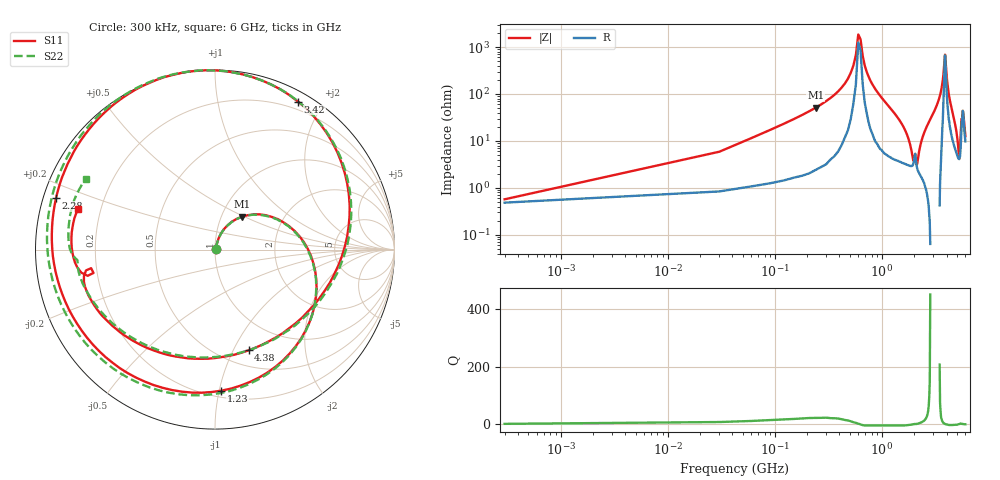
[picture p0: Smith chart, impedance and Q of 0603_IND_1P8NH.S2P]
!Agilent Technologies,E5071C,MY46106283,A.09.10
!Date: Tue Jan 23 23:58:07 2001
!Data & Calibration Information:
!Freq	S11:SOLT2(ON)	S41:SOLT2(ON)	S14:SOLT2(ON)	S44:SOLT2(ON)
# Hz S dB R 50
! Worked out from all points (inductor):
!   201 points, 300 kHz to 6 GHz, reference 50 ohm
!   read as 1/Y11, port 2 shorted: L = 29.9 nH near 30.3 MHz
!   highest Q = 21.1 at 240.3 MHz (marker M1), where L = 33.9 nH
!   self-resonance near 600.3 MHz
!   S11 on the Smith chart (normalised r, x): 300 kHz: 1.01, +0.00; 1.23 GHz: 0.25, -1.02; 2.28 GHz: 0.04, +0.16; 3.42 GHz: 0.11, +1.70; 4.38 GHz: 0.67, -1.15; 6 GHz: 0.12, +0.14
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300000  -43.50 15.3  -0.02 -0.2  -0.05 -0.1  -43.39 37.9
3.02985e7  -29.24 72.0  -0.08 -4.7  -0.08 -4.7  -29.39 71.9
6.0297e7  -23.75 72.4  -0.12 -9.3  -0.12 -9.3  -23.84 72.0
2.40288e8  -12.52 50.7  -0.42 -35.8  -0.42 -35.8  -12.62 50.9
5.702715e8  -6.07 4.7  -1.54 -83.3  -1.54 -83.3  -6.14 4.8
1.020249e9  -2.80 -58.6  -4.55 -146.6  -4.54 -146.6  -2.73 -58.9
1.230238e9  -2.08 -87.4  -6.72 -174.8  -6.72 -174.9  -1.93 -88.1
1.650218e9  -1.33 -138.9  -12.84 135.4  -12.85 135.2  -1.05 -140.9
2.0102e9  -0.91 -174.9  -20.97 102.3  -20.99 102.3  -0.62 -177.9
2.19019e9  -0.72 169.4  -28.45 91.5  -28.49 91.3  -0.44 166.1
2.280186e9  -0.62 162.0  -36.47 95.7  -36.44 96.0  -0.36 158.6
2.340183e9  -0.55 157.2  -45.82 166.4  -45.72 166.5  -0.31 153.7
2.40018e9  -0.49 152.4  -35.97 -131.1  -36.10 -132.0  -0.26 148.8
2.520174e9  -0.35 143.0  -27.17 -129.1  -27.23 -129.1  -0.16 139.4
3.00015e9  0.01 103.8  -15.29 -163.5  -15.34 -163.2  0.03 100.6
3.420129e9  -0.49 60.7  -9.39 151.3  -9.39 151.7  -0.54 58.2
3.720114e9  -1.87 22.4  -6.80 112.4  -6.74 111.8  -1.90 19.6
4.020099e9  -3.69 -20.3  -5.61 68.9  -5.54 69.4  -3.70 -24.6
4.380081e9  -4.56 -71.6  -5.91 24.3  -6.01 24.2  -4.56 -77.8
5.01005e9  -3.16 -136.6  -8.21 -33.8  -8.16 -33.8  -3.11 -142.8
5.640018e9  -2.23 -172.5  -8.76 -73.0  -8.68 -72.7  -1.78 177.5
6e9  -1.97 163.6  -6.60 -99.7  -6.42 -100.4  -1.71 151.4
